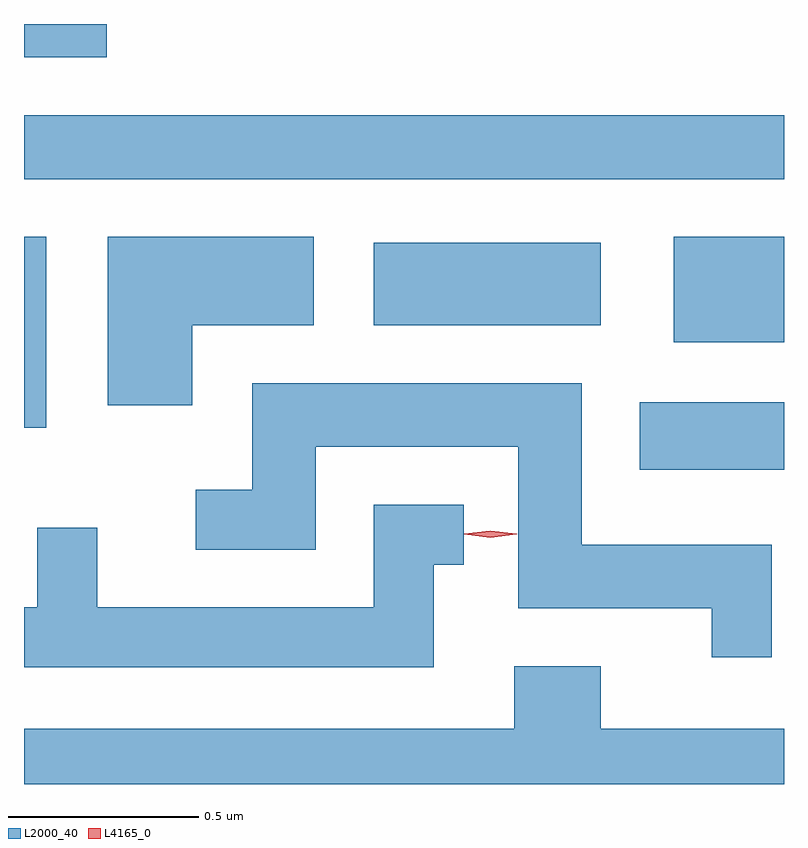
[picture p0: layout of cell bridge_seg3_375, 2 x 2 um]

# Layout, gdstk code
import gdstk
lib = gdstk.Library(unit=1e-6, precision=1e-09)
def R(c, l, rs):  # rectangles x0, y0, x1, y1
    for r in rs: c.add(gdstk.rectangle(r[:2], r[2:], *l))
def P(c, l, *ps):  # polygons
    for p in ps: c.add(gdstk.Polygon(p, *l))
L2000_40 = (2000, 40)
L4165_0 = (4165, 0)

bridge_seg3_375 = lib.new_cell('bridge_seg3_375')
R(bridge_seg3_375, L2000_40, [(680.731,1226.866,681.111,1227.044), (679.111,1226.976,679.169,1227.479), (680.821,1227.201,681.111,1227.479), (680.031,1227.246,680.629,1227.464), (679.111,1227.631,681.111,1227.799), (679.111,1227.951,679.329,1228.039)])
P(bridge_seg3_375, L2000_40, [(679.554,1227.246),(679.874,1227.246),(679.874,1227.479),(679.331,1227.479),(679.331,1227.036),(679.554,1227.036)],
  [(681.079,1226.669),(680.579,1226.669),(680.579,1227.094),(679.711,1227.094),(679.711,1226.814),(679.563,1226.814),(679.563,1226.656),(679.879,1226.656),(679.879,1226.926),(680.411,1226.926),(680.411,1226.501),(680.921,1226.501),(680.921,1226.373),(681.079,1226.373)],
  [(680.189,1226.616),(680.268,1226.616),(680.268,1226.774),(680.031,1226.774),(680.031,1226.504),(679.304,1226.504),(679.304,1226.713),(679.146,1226.713),(679.146,1226.504),(679.111,1226.504),(679.111,1226.346),(680.189,1226.346)],
  [(681.111,1226.184),(680.629,1226.184),(680.629,1226.349),(680.401,1226.349),(680.401,1226.184),(679.111,1226.184),(679.111,1226.039),(681.111,1226.039)])
P(bridge_seg3_375, L4165_0, [(680.338,1226.687),(680.269,1226.696),(680.269,1226.696),(680.269,1226.697),(680.338,1226.706),(680.408,1226.697),(680.408,1226.697),(680.408,1226.696)])

lib.write_gds('bridge_seg3_375.gds')
